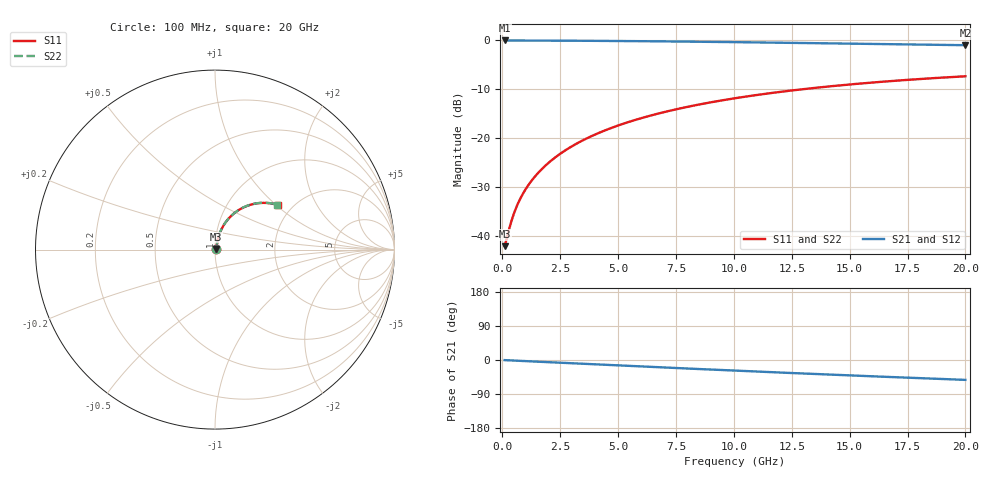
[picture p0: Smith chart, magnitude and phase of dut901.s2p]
! Touchstone file exported from HFSS 2026.1.0
!  File:  C:/ffzhzh/LocalFiles/Ansys_Project_Files/temp_train_BSMRDL_901_1783171406_22436.aedt
!  Generated:  09:24:38 PM Jul  4, 2026
!  Design:  BSMRDL
!  Project:  temp_train_BSMRDL_901_1783171406_22436
! Variables:
!  h_bsmrdl = 2.15um
!  h_ox = 20um
!  h_rdl = 5um
!  h_sub = 80um
!  h_tmrdl = 5um
!  h_tsv = 80um
!  h_via = 3um
!  l_bsmrdl = 815.27um
!  l_sub = 1215.27um
!  l_tmrdl = 200um
!  m_sub = 200um
!  pitch = 37.67um
!  r_tsv = 6um
!  s_tmrdl = 10um
!  w_bsmrdl = 18.71um
!  w_sub = 500um
!  w_tmrdl = 12um
!  x_tsv_center1 = 206um
!  x_tsv_center2 = 1039.98um
!  x_tsv_center3 = 1251.98um
!  x_tsv_center4 = 2085.96um
!  x_tsv_center5 = 2297.96um
!  x_tsv_center6 = 3131.94um
# GHz S MA R 50.000000
! Terminal data exported
! Port[1] = BSM_RDL1_1_T1
! Port[2] = BSM_RDL1_1_T2
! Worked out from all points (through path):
!   200 points, 100 MHz to 20 GHz, reference 50 ohm
!   highest |S21| = -0.06 dB at 100 MHz (marker M1); lowest = -1.0 dB at 20 GHz (marker M2)
!   group delay of S21, straight-line fit = 7.3 ps
!   lowest |S11| = -42.0 dB at 100 MHz (marker M3), VSWR 1.02, Z = 50.7 + j0.311 ohm
!   |S11| at or under -10 dB: start of sweep to 12.98 GHz
!   |S22| runs from -42.0 to -7.4 dB; largest |S21 - S12| = 3.1e-15
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0.1  0.007949 22.7  0.9927 -0.3  0.9927 -0.3  0.007949 22.7
! Gamma 0 0 0 0
! Port Impedance 50 0 50 0
0.4  0.01445 55.7  0.992 -1.2  0.992 -1.2  0.01445 55.7
0.5  0.01704 60.0  0.9917 -1.5  0.9917 -1.5  0.01704 60.0
0.6  0.01964 63.0  0.9915 -1.8  0.9915 -1.8  0.01964 63.0
0.7  0.02224 65.2  0.9912 -2.1  0.9912 -2.1  0.02224 65.2
0.9  0.02745 68.4  0.9907 -2.7  0.9907 -2.7  0.02745 68.4
1.2  0.03525 71.2  0.9901 -3.5  0.9901 -3.5  0.03525 71.2
1.4  0.04047 72.4  0.9898 -4.1  0.9898 -4.1  0.04047 72.4
1.7  0.04834 73.5  0.9892 -4.9  0.9892 -4.9  0.04834 73.6
2.2  0.06153 74.4  0.9883 -6.3  0.9883 -6.3  0.06153 74.4
2.8  0.07739 74.5  0.987 -8.0  0.987 -8.0  0.07739 74.5
3.5  0.09585 73.8  0.9852 -10.0  0.9852 -10.0  0.09585 73.8
4.2  0.1142 72.7  0.983 -12.0  0.983 -12.0  0.1142 72.8
5  0.1349 71.2  0.9802 -14.2  0.9802 -14.2  0.1349 71.2
5.9  0.1578 69.2  0.9765 -16.7  0.9765 -16.7  0.1578 69.3
6.8  0.1801 67.2  0.9724 -19.2  0.9724 -19.2  0.1801 67.2
8.3  0.2161 63.5  0.9645 -23.3  0.9645 -23.3  0.2162 63.6
10.1  0.257 59.1  0.9539 -28.1  0.9539 -28.1  0.257 59.1
11.7  0.2909 55.1  0.9437 -32.3  0.9437 -32.3  0.2909 55.2
13.4  0.3243 50.9  0.9322 -36.6  0.9322 -36.6  0.3243 51.0
16.7  0.3814 43.0  0.9097 -44.8  0.9097 -44.8  0.3814 43.2
20  0.4283 35.5  0.8882 -52.5  0.8882 -52.5  0.4284 35.6
